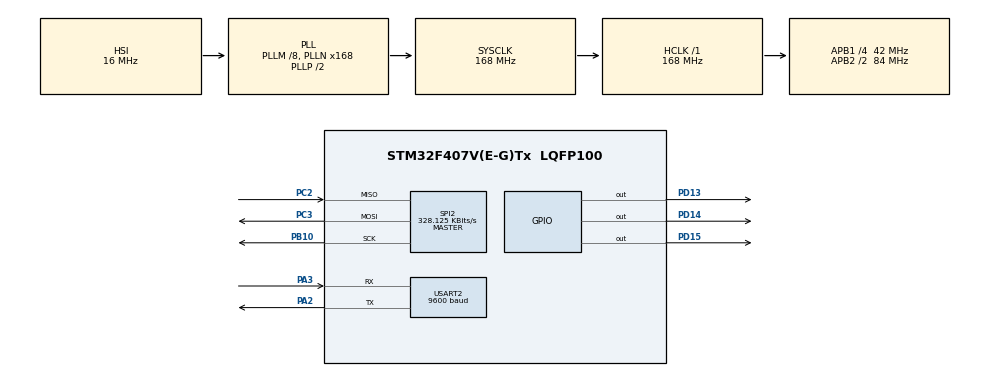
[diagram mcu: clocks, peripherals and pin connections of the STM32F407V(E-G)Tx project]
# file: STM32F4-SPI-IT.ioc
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Mcu.Family=STM32F4
Mcu.Name=STM32F407V(E-G)Tx
Mcu.Package=LQFP100
NVIC.PriorityGroup=NVIC_PRIORITYGROUP_4
NVIC.SPI2_IRQn=true\:0\:0\:false\:false\:true\:true\:true\:true
NVIC.USART2_IRQn=true\:0\:0\:false\:false\:true\:true\:true\:true
PA13.Mode=Serial_Wire
PA13.Signal=SYS_JTMS-SWDIO
PA14.Mode=Serial_Wire
PA14.Signal=SYS_JTCK-SWCLK
PA2.Mode=Asynchronous
PA2.Signal=USART2_TX
PA3.Mode=Asynchronous
PA3.Signal=USART2_RX
PB10.Mode=Full_Duplex_Master
PB10.Signal=SPI2_SCK
PC2.Mode=Full_Duplex_Master
PC2.Signal=SPI2_MISO
PC3.Mode=Full_Duplex_Master
PC3.Signal=SPI2_MOSI
PD13.Signal=GPIO_Output
PD14.Signal=GPIO_Output
PD15.Signal=GPIO_Output
PH0-OSC_IN.Mode=HSE-External-Oscillator
PH0-OSC_IN.Signal=RCC_OSC_IN
PH1-OSC_OUT.Mode=HSE-External-Oscillator
PH1-OSC_OUT.Signal=RCC_OSC_OUT
ProjectManager.HeapSize=0x200
ProjectManager.StackSize=0x400
ProjectManager.TargetToolchain=STM32CubeIDE
RCC.48MHZClocksFreq_Value=84000000
RCC.AHBFreq_Value=168000000
RCC.APB1CLKDivider=RCC_HCLK_DIV4
RCC.APB1Freq_Value=42000000
RCC.APB1TimFreq_Value=84000000
RCC.APB2CLKDivider=RCC_HCLK_DIV2
RCC.APB2Freq_Value=84000000
RCC.APB2TimFreq_Value=168000000
RCC.CortexFreq_Value=168000000
RCC.HCLKFreq_Value=168000000
RCC.HSE_VALUE=25000000
RCC.HSI_VALUE=16000000
RCC.LSE_VALUE=32768
RCC.PLLM=8
RCC.PLLN=168
RCC.SYSCLKFreq_VALUE=168000000
RCC.SYSCLKSource=RCC_SYSCLKSOURCE_PLLCLK
RCC.VCOOutputFreq_Value=336000000
SPI2.BaudRatePrescaler=SPI_BAUDRATEPRESCALER_128
SPI2.CLKPolarity=SPI_POLARITY_HIGH
SPI2.CalculateBaudRate=328.125 KBits/s
SPI2.Direction=SPI_DIRECTION_2LINES
SPI2.Mode=SPI_MODE_MASTER
SPI2.VirtualType=VM_MASTER
USART2.BaudRate=9600
USART2.VirtualMode=VM_ASYNC
board=custom

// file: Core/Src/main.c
/* USER CODE BEGIN Header */
/**
  ******************************************************************************
  * @file           : main.c
  * @brief          : Main program body
  ******************************************************************************
  * @attention
  *
  * Copyright (c) 2024 STMicroelectronics.
  * All rights reserved.
  *
  * This software is licensed under terms that can be found in the LICENSE file
  * in the root directory of this software component.
  * If no LICENSE file comes with this software, it is provided AS-IS.
  *
  ******************************************************************************
  */
/* USER CODE END Header */
#include "main.h"

SPI_HandleTypeDef hspi2;

UART_HandleTypeDef huart2;

/* USER CODE BEGIN PV */
uint8_t uartTxbuffer[] = "\r\n****** Kart haberlesmesi basladi ******* \r\n ";
uint8_t aTxbuffer[] = "SPI GOnderilen mesaj";
uint8_t aRxbuffer[20] = {0};

/* USER CODE END PV */

void SystemClock_Config(void);
static void MX_GPIO_Init(void);
static void MX_SPI2_Init(void);
static void MX_USART2_UART_Init(void);

int main(void)
{

  /* MCU Configuration--------------------------------------------------------*/

  /* Reset of all peripherals, Initializes the Flash interface and the Systick. */
  HAL_Init();

  /* Configure the system clock */
  SystemClock_Config();

  /* Initialize all configured peripherals */
  MX_GPIO_Init();
  MX_SPI2_Init();
  MX_USART2_UART_Init();

  /* USER CODE BEGIN 2 */
  if(HAL_UART_Transmit(&huart2, (uint8_t*)uartTxbuffer, 55, 5000)!= HAL_OK)
   {
     Error_Handler();
   }

   for(volatile uint8_t i=0;i<16;i++)
   {
 	  HAL_GPIO_TogglePin(GPIOD, GPIO_PIN_14);
 	  HAL_GPIO_TogglePin(GPIOD, GPIO_PIN_13);
 	  HAL_Delay(100);
   }

   __HAL_SPI_ENABLE(&hspi2);

   HAL_GPIO_WritePin(GPIOD, GPIO_PIN_14,GPIO_PIN_RESET);
   HAL_GPIO_WritePin(GPIOD, GPIO_PIN_13,GPIO_PIN_RESET);

   if( HAL_SPI_TransmitReceive_IT(&hspi2, (uint8_t*)aTxbuffer,(uint8_t*) aRxbuffer, 20)!= HAL_OK){

	   Error_Handler();
   }

   while(HAL_SPI_GetState(&hspi2)!=HAL_SPI_STATE_READY);
  /* USER CODE END 2 */

  /* Infinite loop */
  while (1)
  {

  }
}

void SystemClock_Config(void)
{
  RCC_OscInitTypeDef RCC_OscInitStruct = {0};
  RCC_ClkInitTypeDef RCC_ClkInitStruct = {0};

  /** Configure the main internal regulator output voltage
  */
  __HAL_RCC_PWR_CLK_ENABLE();
  __HAL_PWR_VOLTAGESCALING_CONFIG(PWR_REGULATOR_VOLTAGE_SCALE1);

  /** Initializes the RCC Oscillators according to the specified parameters
  * in the RCC_OscInitTypeDef structure.
  */
  RCC_OscInitStruct.OscillatorType = RCC_OSCILLATORTYPE_HSI;
  RCC_OscInitStruct.HSIState = RCC_HSI_ON;
  RCC_OscInitStruct.HSICalibrationValue = RCC_HSICALIBRATION_DEFAULT;
  RCC_OscInitStruct.PLL.PLLState = RCC_PLL_ON;
  RCC_OscInitStruct.PLL.PLLSource = RCC_PLLSOURCE_HSI;
  RCC_OscInitStruct.PLL.PLLM = 8;
  RCC_OscInitStruct.PLL.PLLN = 168;
  RCC_OscInitStruct.PLL.PLLP = RCC_PLLP_DIV2;
  RCC_OscInitStruct.PLL.PLLQ = 4;
  if (HAL_RCC_OscConfig(&RCC_OscInitStruct) != HAL_OK)
  {
    Error_Handler();
  }

  /** Initializes the CPU, AHB and APB buses clocks
  */
  RCC_ClkInitStruct.ClockType = RCC_CLOCKTYPE_HCLK|RCC_CLOCKTYPE_SYSCLK
                              |RCC_CLOCKTYPE_PCLK1|RCC_CLOCKTYPE_PCLK2;
  RCC_ClkInitStruct.SYSCLKSource = RCC_SYSCLKSOURCE_PLLCLK;
  RCC_ClkInitStruct.AHBCLKDivider = RCC_SYSCLK_DIV1;
  RCC_ClkInitStruct.APB1CLKDivider = RCC_HCLK_DIV4;
  RCC_ClkInitStruct.APB2CLKDivider = RCC_HCLK_DIV2;

  if (HAL_RCC_ClockConfig(&RCC_ClkInitStruct, FLASH_LATENCY_5) != HAL_OK)
  {
    Error_Handler();
  }
}

static void MX_SPI2_Init(void)
{

  /* SPI2 parameter configuration*/
  hspi2.Instance = SPI2;
  hspi2.Init.Mode = SPI_MODE_MASTER;
  hspi2.Init.Direction = SPI_DIRECTION_2LINES;
  hspi2.Init.DataSize = SPI_DATASIZE_8BIT;
  hspi2.Init.CLKPolarity = SPI_POLARITY_HIGH;
  hspi2.Init.CLKPhase = SPI_PHASE_1EDGE;
  hspi2.Init.NSS = SPI_NSS_SOFT;
  hspi2.Init.BaudRatePrescaler = SPI_BAUDRATEPRESCALER_128;
  hspi2.Init.FirstBit = SPI_FIRSTBIT_MSB;
  hspi2.Init.TIMode = SPI_TIMODE_DISABLE;
  hspi2.Init.CRCCalculation = SPI_CRCCALCULATION_DISABLE;
  hspi2.Init.CRCPolynomial = 10;
  if (HAL_SPI_Init(&hspi2) != HAL_OK)
  {
    Error_Handler();
  }

}

static void MX_USART2_UART_Init(void)
{

  huart2.Instance = USART2;
  huart2.Init.BaudRate = 9600;
  huart2.Init.WordLength = UART_WORDLENGTH_8B;
  huart2.Init.StopBits = UART_STOPBITS_1;
  huart2.Init.Parity = UART_PARITY_NONE;
  huart2.Init.Mode = UART_MODE_TX_RX;
  huart2.Init.HwFlowCtl = UART_HWCONTROL_NONE;
  huart2.Init.OverSampling = UART_OVERSAMPLING_16;
  if (HAL_UART_Init(&huart2) != HAL_OK)
  {
    Error_Handler();
  }

}

static void MX_GPIO_Init(void)
{
  GPIO_InitTypeDef GPIO_InitStruct = {0};

  /* GPIO Ports Clock Enable */
  __HAL_RCC_GPIOH_CLK_ENABLE();
  __HAL_RCC_GPIOC_CLK_ENABLE();
  __HAL_RCC_GPIOA_CLK_ENABLE();
  __HAL_RCC_GPIOB_CLK_ENABLE();
  __HAL_RCC_GPIOD_CLK_ENABLE();

  /*Configure GPIO pin Output Level */
  HAL_GPIO_WritePin(GPIOD, GPIO_PIN_13|GPIO_PIN_14|GPIO_PIN_15, GPIO_PIN_RESET);

  /*Configure GPIO pins : PD13 PD14 PD15 */
  GPIO_InitStruct.Pin = GPIO_PIN_13|GPIO_PIN_14|GPIO_PIN_15;
  GPIO_InitStruct.Mode = GPIO_MODE_OUTPUT_PP;
  GPIO_InitStruct.Pull = GPIO_NOPULL;
  GPIO_InitStruct.Speed = GPIO_SPEED_FREQ_LOW;
  HAL_GPIO_Init(GPIOD, &GPIO_InitStruct);

}

/* USER CODE BEGIN 4 */
void HAL_SPI_TxRxCpltCallback(SPI_HandleTypeDef *hspi)
{

	   if( HAL_SPI_TransmitReceive_IT(&hspi2, (uint8_t*)aTxbuffer,(uint8_t*) aRxbuffer, 20)!= HAL_OK){

		   Error_Handler();
	   }

	   HAL_GPIO_WritePin(GPIOD, GPIO_PIN_14,GPIO_PIN_SET);
	   HAL_GPIO_WritePin(GPIOD, GPIO_PIN_13,GPIO_PIN_SET);
	   while(HAL_SPI_GetState(&hspi2)!=HAL_SPI_STATE_READY);

		  if(HAL_UART_Transmit(&huart2, (uint8_t*)aRxbuffer, 20, 5000)!= HAL_OK)
		   {
		     Error_Handler();
		   }

		   for(volatile uint8_t i=0;i<16;i++)
		   {
		 	  HAL_GPIO_TogglePin(GPIOD, GPIO_PIN_14);
		 	  HAL_GPIO_TogglePin(GPIOD, GPIO_PIN_13);
		 	  HAL_Delay(100);
		   }

}

/* USER CODE END 4 */

void Error_Handler(void)
{
  __disable_irq();
  while (1)
  {
  }
}
